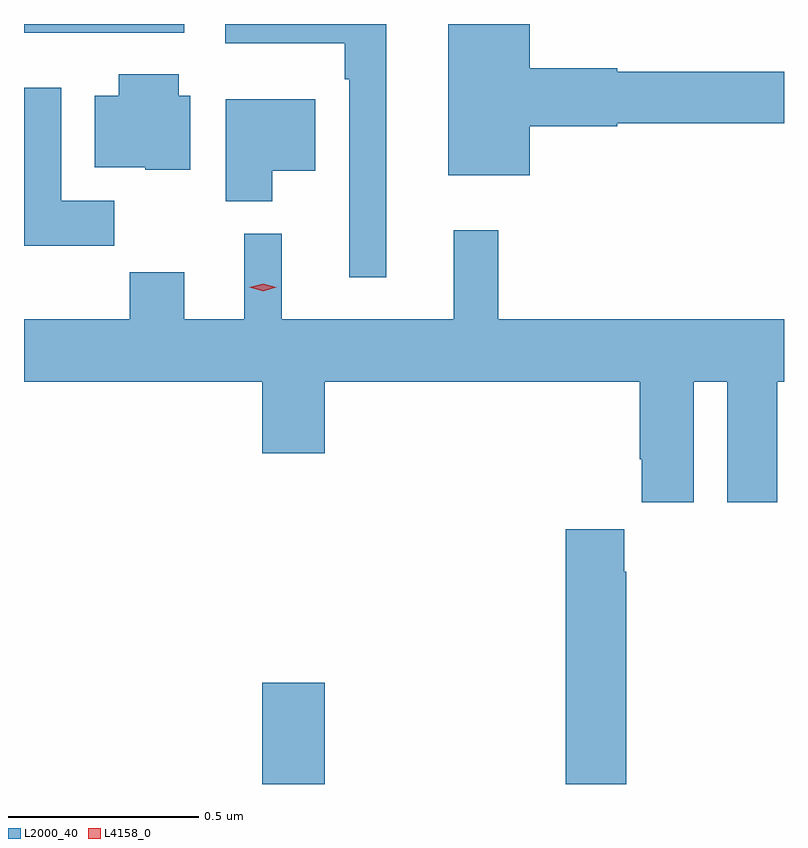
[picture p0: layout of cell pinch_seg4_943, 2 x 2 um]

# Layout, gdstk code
import gdstk
lib = gdstk.Library(unit=1e-6, precision=1e-09)
def R(c, l, rs):  # rectangles x0, y0, x1, y1
    for r in rs: c.add(gdstk.rectangle(r[:2], r[2:], *l))
def P(c, l, *ps):  # polygons
    for p in ps: c.add(gdstk.Polygon(p, *l))
L2000_40 = (2000, 40)
L4158_0 = (4158, 0)

pinch_seg4_943 = lib.new_cell('pinch_seg4_943')
R(pinch_seg4_943, L2000_40, [(668.504,797.093,668.668,797.359), (667.877,799.07,668.299,799.093)])
P(pinch_seg4_943, L2000_40, [(668.83,799.093),(668.406,799.093),(668.406,799.043),(668.721,799.043),(668.721,798.947),(668.733,798.947),(668.733,798.426),(668.83,798.426)],
  [(669.208,798.824),(669.438,798.824),(669.438,798.832),(669.877,798.832),(669.877,798.968),(669.438,798.968),(669.438,798.976),(669.208,798.976),(669.208,799.093),(668.993,799.093),(668.993,798.695),(669.208,798.695)],
  [(668.314,798.904),(668.284,798.904),(668.284,798.961),(668.126,798.961),(668.126,798.904),(668.063,798.904),(668.063,798.716),(668.196,798.716),(668.196,798.71),(668.314,798.71)],
  [(668.114,798.628),(667.975,798.628),(667.975,798.925),(667.877,798.925),(667.877,798.51),(668.114,798.51)],
  [(668.53,798.707),(668.644,798.707),(668.644,798.895),(668.408,798.895),(668.408,798.626),(668.53,798.626)],
  [(669.125,798.55),(669.008,798.55),(669.008,798.316),(668.555,798.316),(668.555,798.541),(668.456,798.541),(668.456,798.316),(668.299,798.316),(668.299,798.44),(668.155,798.44),(668.155,798.316),(667.877,798.316),(667.877,798.152),(668.504,798.152),(668.504,797.964),(668.668,797.964),(668.668,798.152),(669.497,798.152),(669.497,797.947),(669.503,797.947),(669.503,797.835),(669.64,797.835),(669.64,798.152),(669.728,798.152),(669.728,797.835),(669.859,797.835),(669.859,798.152),(669.877,798.152),(669.877,798.316),(669.125,798.316)],
  [(669.462,797.651),(669.457,797.651),(669.457,797.764),(669.302,797.764),(669.302,797.093),(669.462,797.093)])
P(pinch_seg4_943, L4158_0, [(668.506,798.39),(668.47,798.4),(668.47,798.4),(668.47,798.4),(668.506,798.41),(668.541,798.4),(668.542,798.4),(668.541,798.4)])

lib.write_gds('pinch_seg4_943.gds')
